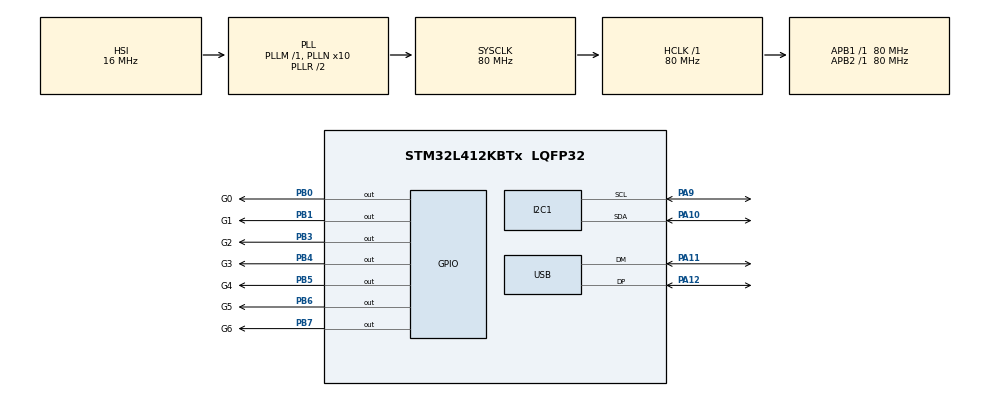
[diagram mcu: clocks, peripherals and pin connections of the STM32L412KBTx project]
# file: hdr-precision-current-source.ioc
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I2C1.Timing=0x10D19CE4
Mcu.Family=STM32L4
Mcu.Name=STM32L412KBTx
Mcu.Package=LQFP32
NVIC.PriorityGroup=NVIC_PRIORITYGROUP_4
NVIC.USB_IRQn=true\:0\:0\:false\:false\:true\:false\:true\:true
PA10.Mode=I2C
PA10.Signal=I2C1_SDA
PA11.Mode=Device
PA11.Signal=USB_DM
PA12.Mode=Device
PA12.Signal=USB_DP
PA13\ (JTMS/SWDIO).Mode=Serial_Wire
PA13\ (JTMS/SWDIO).Signal=SYS_JTMS-SWDIO
PA14\ (JTCK/SWCLK).Mode=Serial_Wire
PA14\ (JTCK/SWCLK).Signal=SYS_JTCK-SWCLK
PA9.Mode=I2C
PA9.Signal=I2C1_SCL
PB0.GPIO_Label=G0
PB0.Signal=GPIO_Output
PB1.GPIO_Label=G1
PB1.Signal=GPIO_Output
PB3\ (JTDO/TRACESWO).GPIO_Label=G2
PB3\ (JTDO/TRACESWO).Signal=GPIO_Output
PB4\ (NJTRST).GPIO_Label=G3
PB4\ (NJTRST).Signal=GPIO_Output
PB5.GPIO_Label=G4
PB5.Signal=GPIO_Output
PB6.GPIO_Label=G5
PB6.Signal=GPIO_Output
PB7.GPIO_Label=G6
PB7.Signal=GPIO_Output
ProjectManager.HeapSize=0x200
ProjectManager.StackSize=0x400
ProjectManager.TargetToolchain=STM32CubeIDE
RCC.ADCFreq_Value=80000000
RCC.AHBFreq_Value=80000000
RCC.APB1Freq_Value=80000000
RCC.APB1TimFreq_Value=80000000
RCC.APB2Freq_Value=80000000
RCC.APB2TimFreq_Value=80000000
RCC.CortexFreq_Value=80000000
RCC.HCLKFreq_Value=80000000
RCC.HSE_VALUE=8000000
RCC.HSI48_VALUE=48000000
RCC.HSI_VALUE=16000000
RCC.LSE_VALUE=32768
RCC.MSIClockRange=RCC_MSIRANGE_11
RCC.MSI_VALUE=48000000
RCC.PLLN=10
RCC.PLLSourceVirtual=RCC_PLLSOURCE_HSI
RCC.SYSCLKFreq_VALUE=80000000
RCC.SYSCLKSource=RCC_SYSCLKSOURCE_PLLCLK
RCC.USBFreq_Value=48000000
RCC.VCOOutputFreq_Value=160000000
USB_DEVICE.CLASS_NAME_FS=CDC
USB_DEVICE.PID_CDC_FS=100
USB_DEVICE.VirtualMode=Cdc
USB_DEVICE.VirtualModeFS=Cdc_FS
VP_USB_DEVICE_VS_USB_DEVICE_CDC_FS.Mode=CDC_FS
board=custom

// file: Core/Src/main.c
/* USER CODE BEGIN Header */
/**
  ******************************************************************************
  * @file           : main.c
  * @brief          : Main program body
  ******************************************************************************
  * @attention
  *
  * Copyright (c) 2025 STMicroelectronics.
  * All rights reserved.
  *
  * This software is licensed under terms that can be found in the LICENSE file
  * in the root directory of this software component.
  * If no LICENSE file comes with this software, it is provided AS-IS.
  *
  ******************************************************************************
  */
/* USER CODE END Header */
#include "main.h"
#include "usb_device.h"

/* USER CODE BEGIN Includes */
#include <stdint.h>
#include <stdbool.h>
#include "usbd_cdc_if.h"
#include "usb_interface.h"
#include "dac80501.h"
#include <math.h>
/* USER CODE END Includes */

I2C_HandleTypeDef hi2c1;

/* USER CODE BEGIN PV */

static const float _r_default = 10000000.0;
static const float _r_g6 = 1000000.0;
static const float _r_g5 = 100000.0;
static const float _r_g4 = 10000.0;
static const float _r_g3 = 1000.0;
static const float _r_g2 = 100.0;
static const float _r_g1 = 12.76666;
static const float _r_g0 = 7.66;

static const float _fet_r_ohm = 0.048;

static float _ref_v = 3.0;

static usb_command_t _usb_command;

static DAC80501_Handle_t _dac_handle;

/* USER CODE END PV */

void SystemClock_Config(void);
static void MX_GPIO_Init(void);
static void MX_I2C1_Init(void);

/* USER CODE BEGIN 0 */

static void set_current_level(float current_command_ma)
{
	// Set all to off
	HAL_GPIO_WritePin(GPIOB, G0_Pin|G1_Pin|G2_Pin|G3_Pin
	                          |G4_Pin|G5_Pin|G6_Pin, GPIO_PIN_RESET);

	// I_out = V_rev / R
	// V_ref on DAC can range from ~50uV to 2.5V
	// Default ranges from 5pA to 250nA
	// G6 on ranges from 0.05nA to 2.5uA
	// G5 on ranges from 0.5nA to 25uA
	// G4 on ranges from 5.0nA to 250uA
	// G3 on ranges from 50nA to 2.5mA
	// G2 on ranges from 500nA to 25mA
	// G1 on ranges from 3.9uA to 195.8mA
	// G0 on ranges from 6.5uA to 326.4mA
	if(current_command_ma < (250.0 * 1.0e-6))
	{
		// No other FETs on
		// control DAC
		float v_output = (current_command_ma * 0.001) * _r_default;
		uint16_t cmd_mv = (uint16_t) round(v_output * 1000.0);
		DAC80501_SetVoltage(&_dac_handle, cmd_mv);
	}
	else if(current_command_ma < 0.002)
	{
		HAL_GPIO_WritePin(GPIOB, G6_Pin, GPIO_PIN_SET);
		// control DAC
		float v_output = (current_command_ma * 0.001) * _r_g6;
		uint16_t cmd_mv = (uint16_t) round(v_output * 1000.0);
		DAC80501_SetVoltage(&_dac_handle, cmd_mv);
	}
	else if(current_command_ma < 0.02)
	{
		HAL_GPIO_WritePin(GPIOB, G5_Pin, GPIO_PIN_SET);
		// control DAC
		float v_output = (current_command_ma * 0.001) * _r_g5;
		uint16_t cmd_mv = (uint16_t) round(v_output * 1000.0);
		DAC80501_SetVoltage(&_dac_handle, cmd_mv);
	}
	else if(current_command_ma < 0.2)
	{
		HAL_GPIO_WritePin(GPIOB, G4_Pin, GPIO_PIN_SET);
		// control DAC
		float v_output = (current_command_ma * 0.001) * _r_g4;
		uint16_t cmd_mv = (uint16_t) round(v_output * 1000.0);
		DAC80501_SetVoltage(&_dac_handle, cmd_mv);
	}
	else if(current_command_ma < 2.0)
	{
		HAL_GPIO_WritePin(GPIOB, G3_Pin, GPIO_PIN_SET);
		// control DAC
		float v_output = (current_command_ma * 0.001) * _r_g3;
		uint16_t cmd_mv = (uint16_t) round(v_output * 1000.0);
		DAC80501_SetVoltage(&_dac_handle, cmd_mv);
	}
	else if(current_command_ma < 20.0)
	{
		HAL_GPIO_WritePin(GPIOB, G2_Pin, GPIO_PIN_SET);
		// control DAC
		float v_output = (current_command_ma * 0.001) * _r_g2;
		uint16_t cmd_mv = (uint16_t) round(v_output * 1000.0);
		DAC80501_SetVoltage(&_dac_handle, cmd_mv);
	}
	else if(current_command_ma < 190.0)
	{
		HAL_GPIO_WritePin(GPIOB, G1_Pin, GPIO_PIN_SET);
		// control DAC
		float v_output = (current_command_ma * 0.001) * _r_g1;
		uint16_t cmd_mv = (uint16_t) round(v_output * 1000.0);
		DAC80501_SetVoltage(&_dac_handle, cmd_mv);
	}
	else if(current_command_ma < 326.0)
	{
		HAL_GPIO_WritePin(GPIOB, G0_Pin, GPIO_PIN_SET);
		// control DAC
		float v_output = (current_command_ma * 0.001) * _r_g0;
		uint16_t cmd_mv = (uint16_t) round(v_output * 1000.0);
		DAC80501_SetVoltage(&_dac_handle, cmd_mv);
	}
}

static void set_scale(uint8_t scale)
{
	if(scale > 6)
	{
		return;
	}

	// Set all to off
	HAL_GPIO_WritePin(GPIOB, G0_Pin|G1_Pin|G2_Pin|G3_Pin
		                      |G4_Pin|G5_Pin|G6_Pin, GPIO_PIN_RESET);

	switch(scale){
	case 0:
		HAL_GPIO_WritePin(GPIOB, G0_Pin, GPIO_PIN_SET);
		break;
	case 1:
		HAL_GPIO_WritePin(GPIOB, G1_Pin, GPIO_PIN_SET);
		break;
	case 2:
		HAL_GPIO_WritePin(GPIOB, G2_Pin, GPIO_PIN_SET);
		break;
	case 3:
		HAL_GPIO_WritePin(GPIOB, G3_Pin, GPIO_PIN_SET);
		break;
	case 4:
		HAL_GPIO_WritePin(GPIOB, G4_Pin, GPIO_PIN_SET);
		break;
	case 5:
		HAL_GPIO_WritePin(GPIOB, G5_Pin, GPIO_PIN_SET);
		break;
	case 6:
		HAL_GPIO_WritePin(GPIOB, G6_Pin, GPIO_PIN_SET);
		break;
	}
}

/* USER CODE END 0 */

int main(void)
{

  /* MCU Configuration--------------------------------------------------------*/

  /* Reset of all peripherals, Initializes the Flash interface and the Systick. */
  HAL_Init();

  /* Configure the system clock */
  SystemClock_Config();

  /* Initialize all configured peripherals */
  MX_GPIO_Init();
  MX_I2C1_Init();
  MX_USB_DEVICE_Init();
  /* USER CODE BEGIN 2 */

  // Set up DAC
  DAC80501_Init(&_dac_handle, &hi2c1, 0x48, 2500); //A0 is GND. Internal 2.5V reference used
  DAC80501_SetGain(&_dac_handle, false); // 1X gain, so up to 2.5V output

  /* USER CODE END 2 */

  /* Infinite loop */
  while (1)
  {

	// Check if we've received a command
	if(is_usb_recv(&_usb_command))
	{
		if(_usb_command.msg_type == SET_CURRENT)
		{
			float current_command_ma = 0.0;
			memcpy(&current_command_ma, &_usb_command.payload[0], 4);
			set_current_level(current_command_ma);
		}
		else if(_usb_command.msg_type == SET_SCALE)
		{
			set_scale(_usb_command.payload[0]);
		}
	}

  }
}

void SystemClock_Config(void)
{
  RCC_OscInitTypeDef RCC_OscInitStruct = {0};
  RCC_ClkInitTypeDef RCC_ClkInitStruct = {0};

  /** Configure the main internal regulator output voltage
  */
  if (HAL_PWREx_ControlVoltageScaling(PWR_REGULATOR_VOLTAGE_SCALE1) != HAL_OK)
  {
    Error_Handler();
  }

  /** Initializes the RCC Oscillators according to the specified parameters
  * in the RCC_OscInitTypeDef structure.
  */
  RCC_OscInitStruct.OscillatorType = RCC_OSCILLATORTYPE_HSI|RCC_OSCILLATORTYPE_MSI;
  RCC_OscInitStruct.HSIState = RCC_HSI_ON;
  RCC_OscInitStruct.HSICalibrationValue = RCC_HSICALIBRATION_DEFAULT;
  RCC_OscInitStruct.MSIState = RCC_MSI_ON;
  RCC_OscInitStruct.MSICalibrationValue = 0;
  RCC_OscInitStruct.MSIClockRange = RCC_MSIRANGE_11;
  RCC_OscInitStruct.PLL.PLLState = RCC_PLL_ON;
  RCC_OscInitStruct.PLL.PLLSource = RCC_PLLSOURCE_HSI;
  RCC_OscInitStruct.PLL.PLLM = 1;
  RCC_OscInitStruct.PLL.PLLN = 10;
  RCC_OscInitStruct.PLL.PLLQ = RCC_PLLQ_DIV2;
  RCC_OscInitStruct.PLL.PLLR = RCC_PLLR_DIV2;
  if (HAL_RCC_OscConfig(&RCC_OscInitStruct) != HAL_OK)
  {
    Error_Handler();
  }

  /** Initializes the CPU, AHB and APB buses clocks
  */
  RCC_ClkInitStruct.ClockType = RCC_CLOCKTYPE_HCLK|RCC_CLOCKTYPE_SYSCLK
                              |RCC_CLOCKTYPE_PCLK1|RCC_CLOCKTYPE_PCLK2;
  RCC_ClkInitStruct.SYSCLKSource = RCC_SYSCLKSOURCE_PLLCLK;
  RCC_ClkInitStruct.AHBCLKDivider = RCC_SYSCLK_DIV1;
  RCC_ClkInitStruct.APB1CLKDivider = RCC_HCLK_DIV1;
  RCC_ClkInitStruct.APB2CLKDivider = RCC_HCLK_DIV1;

  if (HAL_RCC_ClockConfig(&RCC_ClkInitStruct, FLASH_LATENCY_4) != HAL_OK)
  {
    Error_Handler();
  }
}

static void MX_I2C1_Init(void)
{

  hi2c1.Instance = I2C1;
  hi2c1.Init.Timing = 0x10D19CE4;
  hi2c1.Init.OwnAddress1 = 0;
  hi2c1.Init.AddressingMode = I2C_ADDRESSINGMODE_7BIT;
  hi2c1.Init.DualAddressMode = I2C_DUALADDRESS_DISABLE;
  hi2c1.Init.OwnAddress2 = 0;
  hi2c1.Init.OwnAddress2Masks = I2C_OA2_NOMASK;
  hi2c1.Init.GeneralCallMode = I2C_GENERALCALL_DISABLE;
  hi2c1.Init.NoStretchMode = I2C_NOSTRETCH_DISABLE;
  if (HAL_I2C_Init(&hi2c1) != HAL_OK)
  {
    Error_Handler();
  }

  /** Configure Analogue filter
  */
  if (HAL_I2CEx_ConfigAnalogFilter(&hi2c1, I2C_ANALOGFILTER_ENABLE) != HAL_OK)
  {
    Error_Handler();
  }

  /** Configure Digital filter
  */
  if (HAL_I2CEx_ConfigDigitalFilter(&hi2c1, 0) != HAL_OK)
  {
    Error_Handler();
  }

}

static void MX_GPIO_Init(void)
{
  GPIO_InitTypeDef GPIO_InitStruct = {0};

  /* GPIO Ports Clock Enable */
  __HAL_RCC_GPIOC_CLK_ENABLE();
  __HAL_RCC_GPIOA_CLK_ENABLE();
  __HAL_RCC_GPIOB_CLK_ENABLE();
  __HAL_RCC_GPIOH_CLK_ENABLE();

  /*Configure GPIO pin Output Level */
  HAL_GPIO_WritePin(GPIOB, G0_Pin|G1_Pin|G2_Pin|G3_Pin
                          |G4_Pin|G5_Pin|G6_Pin, GPIO_PIN_RESET);

  /*Configure GPIO pins : PC14 PC15 */
  GPIO_InitStruct.Pin = GPIO_PIN_14|GPIO_PIN_15;
  GPIO_InitStruct.Mode = GPIO_MODE_ANALOG;
  GPIO_InitStruct.Pull = GPIO_NOPULL;
  HAL_GPIO_Init(GPIOC, &GPIO_InitStruct);

  /*Configure GPIO pins : PA0 PA1 PA2 PA3
                           PA4 PA5 PA6 PA7
                           PA8 PA15 */
  GPIO_InitStruct.Pin = GPIO_PIN_0|GPIO_PIN_1|GPIO_PIN_2|GPIO_PIN_3
                          |GPIO_PIN_4|GPIO_PIN_5|GPIO_PIN_6|GPIO_PIN_7
                          |GPIO_PIN_8|GPIO_PIN_15;
  GPIO_InitStruct.Mode = GPIO_MODE_ANALOG;
  GPIO_InitStruct.Pull = GPIO_NOPULL;
  HAL_GPIO_Init(GPIOA, &GPIO_InitStruct);

  /*Configure GPIO pins : G0_Pin G1_Pin G2_Pin G3_Pin
                           G4_Pin G5_Pin G6_Pin */
  GPIO_InitStruct.Pin = G0_Pin|G1_Pin|G2_Pin|G3_Pin
                          |G4_Pin|G5_Pin|G6_Pin;
  GPIO_InitStruct.Mode = GPIO_MODE_OUTPUT_PP;
  GPIO_InitStruct.Pull = GPIO_NOPULL;
  GPIO_InitStruct.Speed = GPIO_SPEED_FREQ_LOW;
  HAL_GPIO_Init(GPIOB, &GPIO_InitStruct);

  /*Configure GPIO pin : PH3 */
  GPIO_InitStruct.Pin = GPIO_PIN_3;
  GPIO_InitStruct.Mode = GPIO_MODE_ANALOG;
  GPIO_InitStruct.Pull = GPIO_NOPULL;
  HAL_GPIO_Init(GPIOH, &GPIO_InitStruct);

}

void Error_Handler(void)
{
  __disable_irq();
  while (1)
  {
  }
}
